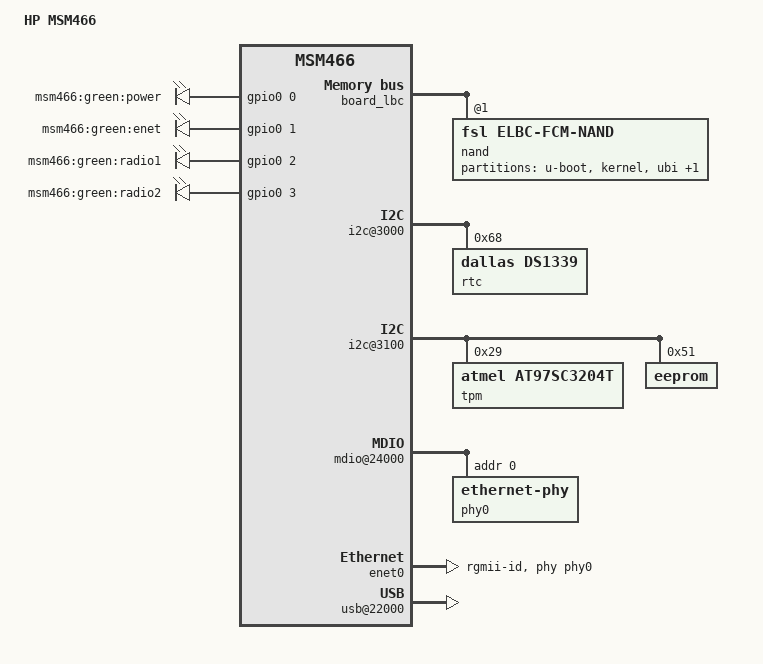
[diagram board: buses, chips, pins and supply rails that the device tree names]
// SPDX-License-Identifier: GPL-2.0-or-later
/include/ "fsl/p1020si-pre.dtsi"
#include <dt-bindings/gpio/gpio.h>
#include <dt-bindings/leds/common.h>
/ {
	model = "HP MSM466";
	compatible = "hp,msm466";

	aliases {
		led-boot = &led_power;
		led-failsafe = &led_power;
		led-running = &led_power;
		led-upgrade = &led_power;
		label-mac-device = &enet0;
	};

	leds {
		compatible = "gpio-leds";

		led_power: power {
			gpios = <&gpio0 0 0>;
			label = "msm466:green:power";
		};

		enet {
			gpios = <&gpio0 1 0>;
			label = "msm466:green:enet";
		};

		wifi1 {
			gpios = <&gpio0 2 0>;
			label = "msm466:green:radio1";
			linux,default-trigger = "phy0tpt";
		};

		wifi2 {
			gpios = <&gpio0 3 0>;
			label = "msm466:green:radio2";
			linux,default-trigger = "phy1tpt";
		};
	};

	chosen {
		bootargs-override = "console=ttyS0,115200";
	};

	memory {
		device_type = "memory";
	};

	board_lbc: lbc: localbus@ffe05000 {
		reg = <0x0 0xffe05000 0x0 0x1000>;
		ranges = <0x0 0x0 0x0 0xffa00000 0x100000>;

		nand@1,0 {
			#address-cells = <0x1>;
			#size-cells = <0x1>;
			compatible = "fsl,elbc-fcm-nand";
			reg = <0x01 0x00 0x40000>;
			bank-width = <0x2>;
			device-width = <0x1>;
			nand-ecc-mode = "none";

			partitions {
				compatible = "fixed-partitions";
				#address-cells = <1>;
				#size-cells = <1>;

				partition@0 {
					reg = <0x0 0x100000>;
					label = "u-boot";
					read-only;
				};

				partition@100000 {
					reg = <0x100000 0x1000000>;
					label = "kernel";
				};

				partition@1100000 {
					reg = <0x1100000 0x7230000>;
					label = "ubi";
				};

				partition@7340000 {
					reg = <0x7340000 0xcc0000>;
					label = "stock-jffs2";
					read-only;
				};
			};
		};
	};

	board_soc: soc: soc@ffe00000 {
		device_type = "soc";
		compatible = "fsl,p1020-immr", "simple-bus";
		ranges = <0x0 0x0 0xffe00000 0x100000>;
		bus-frequency = <0x0>;

		i2c@3000 {
			#address-cells = <0x1>;
			#size-cells = <0x0>;
			cell-index = <0x0>;
			compatible = "fsl-i2c";
			reg = <0x3000 0x100>;
			interrupts = <0x2b 0x2>;
			interrupt-parent = <0x2>;
			dfsrr;
			rtc@68 {
				compatible = "dallas,ds1339";
				reg = <0x68>;
			};
		};

		i2c@3100 {
			tpm@29 {
				compatible = "atmel,at97sc3204t";
				reg = <0x29>;
			};

			/* Most likely SoC boot config */
			eeprom@51 {
				compatible = "eeprom";
				reg = <0x51>;
			};
		};

		mdio@24000 {
			#address-cells = <0x1>;
			#size-cells = <0x0>;
			compatible = "fsl,etsec2-mdio";
			reg = <0x24000 0x1000 0xb0030 0x4>;
			phy0: ethernet-phy@0 {
				interrupt-parent = <0x2>;
				interrupts = <0x3 0x3>;
				reg = <0x0>;
				linux,phandle = <0x3>;
			};
		};

		mdio@25000 {
			status = "disabled";
		};

		mdio@26000 {
			status = "disabled";
		};

		enet0: ethernet@b0000 {
			status = "okay";
			model = "eTSEC";
			compatible = "fsl,etsec2-mdio";
			phy-handle = <&phy0>;
			phy-connection-type = "rgmii-id";
		};

		enet1: ethernet@b1000 {
			status = "disabled";
		};

		enet2: ethernet@b2000 {
			status = "disabled";
		};

		gpio0: gpio-controller@f000 {
			#gpio-cells = <0x2>;
			compatible = "fsl,mpc8572-gpio";
			reg = <0xf000 0x100>;
			interrupts = <0x2f 0x2>;
			interrupt-parent = <0x2>;
			gpio-controller;
			available = <0x3 0x5 0x8 0xa 0xb 0xc 0xd 0xf>;
		};

		usb@22000 {
			#address-cells = <0x1>;
			#size-cells = <0x0>;
			compatible = "fsl-usb2-dr";
			reg = <0x22000 0x1000>;
			interrupt-parent = <0x2>;
			interrupts = <0x1c 0x2>;
			phy_type = "ulpi";
		};

		usb@23000 {
			status = "disabled";
		};

		crypto@30000 {
			compatible = "fsl,sec3.3", "fsl,sec3.1", "fsl,sec3.0", "fsl,sec2.4", "fsl,sec2.2", "fsl,sec2.1", "fsl,sec2.0";
			reg = <0x30000 0x10000>;
			interrupts = <0x2d 0x2 0x3a 0x2>;
			interrupt-parent = <0x2>;
			fsl,num-channels = <0x4>;
			fsl,channel-fifo-len = <0x18>;
			fsl,exec-units-mask = <0x97c>;
			fsl,descriptor-types-mask = <0x3a30abf>;
			fsl,multi-host-mode = "dual";
			fsl,channel-remap = <0x1>;
		};
		pic@40000 {
			interrupt-controller;
			#address-cells = <0x0>;
			#interrupt-cells = <0x2>;
			reg = <0x40000 0x40000>;
			compatible = "chrp,open-pic";
			device_type = "open-pic";
			linux,phandle = <0x2>;
		};
		message@41400 {
			compatible = "fsl,p1020-msg", "fsl,mpic-msg";
			reg = <0x41400 0x200>;
			interrupts = <0xb0 0x2 0xb1 0x2 0xb2 0x2 0xb3 0x2>;
			interrupt-parent = <0x2>;
		};
		message@42400 {
			compatible = "fsl,p1020-msg", "fsl,mpic-msg";
			reg = <0x42400 0x200>;
			interrupts = <0xb4 0x2 0xb5 0x2 0xb6 0x2 0xb7 0x2>;
			interrupt-parent = <0x2>;
		};
		msi@41600 {
			compatible = "fsl,p1020-msi", "fsl,mpic-msi";
			reg = <0x41600 0x80>;
			msi-available-ranges = <0x0 0x100>;
			interrupts = <0xe0 0x0 0xe1 0x0 0xe2 0x0 0xe3 0x0 0xe4 0x0 0xe5 0x0 0xe6 0x0 0xe7 0x0>;
			interrupt-parent = <0x2>;
		};
		global-utilities@e0000 {
			compatible = "fsl,p2020-guts";
			reg = <0xe0000 0x1000>;
			fsl,has-rstcr;
		};
	};

	pci0: pcie@ffe09000 {
		reg = <0x0 0xffe09000 0x0 0x1000>;
		ranges = <0x2000000 0x0 0xa0000000 0x0 0xa0000000 0x0 0x20000000
		0x1000000 0x0 0x00000000 0x0 0xffc30000 0x0 0x10000>;
		pcie@0 {
			ranges = <0x2000000 0x0 0xa0000000
			0x2000000 0x0 0xa0000000
			0x0 0x20000000

			0x1000000 0x0 0x0
			0x1000000 0x0 0x0
			0x0 0x100000>;
		};
	};

	pci1: pcie@ffe0a000 {
		reg = <0x0 0xffe0a000 0x0 0x1000>;
		ranges = <0x2000000 0x0 0xc0000000 0x0 0xc0000000 0x0 0x20000000
		0x1000000 0x0 0x00000000 0x0 0xffc20000 0x0 0x10000>;
		pcie@0 {
			ranges = <0x2000000 0x0 0xc0000000
			0x2000000 0x0 0xc0000000
			0x0 0x20000000

			0x1000000 0x0 0x0
			0x1000000 0x0 0x0
			0x0 0x100000>;
		};
	};
};

/include/ "fsl/p1020si-post.dtsi"
